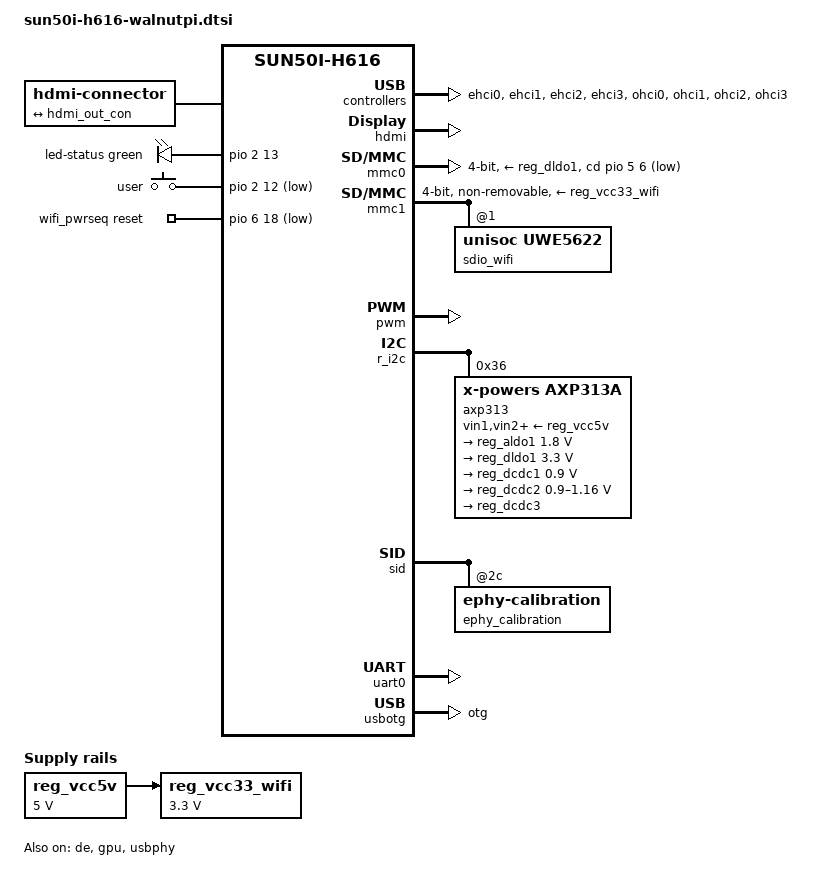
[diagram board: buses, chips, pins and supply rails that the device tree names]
// SPDX-License-Identifier: (GPL-2.0+ OR MIT)
/*
 * WalnutPi 1B / ZeroW 共用 SoC 外设（同一份 DTB）。
 *
 * 板级走核桃派原理图，不是 OrangePi，也不是官方 DTB / 未测完的魔改：
 *   核桃派1B_2G_4G版本_sch.pdf Device2 POWER
 *   核桃派ZeroW_sch.pdf Device2 POWER
 *   axp313a_datasheet_v0.1.pdf
 * 芯片怎么出现在 DT 里走主线绑定：sun50i-h616.dtsi、
 * sun50i-h616-cpu-opp.dtsi、x-powers,axp313a。
 *
 * AXP313A 手册表 7-1「应用建议」DCDC1=CPU、DCDC2=GPU 只是通用示例。
 * 核桃派电路相反：DCDC1→VDD-SYS+VDD-GPU（1.5 A），DCDC2→VDD-CPU（3 A）。
 */

#include "sun50i-h616.dtsi"

#include <dt-bindings/gpio/gpio.h>
#include <dt-bindings/input/input.h>
#include <dt-bindings/leds/common.h>
#include <dt-bindings/thermal/thermal.h>

/ {
	aliases {
		serial0 = &uart0;
		serial2 = &uart2;
		serial4 = &uart4;
		mmc0 = &mmc0;
		mmc1 = &mmc1;
		i2c1 = &i2c1;
		i2c2 = &i2c2;
		spi1 = &spi1;
	};

	chosen {
		stdout-path = "serial0:115200n8";
	};

	connector {
		compatible = "hdmi-connector";
		type = "d";

		port {
			hdmi_con_in: endpoint {
				remote-endpoint = <&hdmi_out_con>;
			};
		};
	};

	leds {
		compatible = "gpio-leds";

		led-status {
			function = LED_FUNCTION_STATUS;
			color = <LED_COLOR_ID_GREEN>;
			gpios = <&pio 2 13 GPIO_ACTIVE_HIGH>; /* PC13 */
			default-state = "on";
		};
	};

	gpio_keys: gpio-keys {
		compatible = "gpio-keys";

		key-user {
			label = "user";
			linux,code = <KEY_POWER>;
			gpios = <&pio 2 12 GPIO_ACTIVE_LOW>; /* PC12 */
			wakeup-source;
		};
	};

	/* Type-C VBUS，板级 5 V 输入，同时给 USB-A 口供电 */
	reg_vcc5v: vcc5v {
		compatible = "regulator-fixed";
		regulator-name = "vcc-5v";
		regulator-min-microvolt = <5000000>;
		regulator-max-microvolt = <5000000>;
		regulator-always-on;
	};

	/*
	 * U5 XC6220-3.3V1A：3V3-WIFI。WiFi 模组 VIN 走这一路，不是 AXP DLDO1。
	 * EN 在原理图上常开，无 GPIO。
	 */
	reg_vcc33_wifi: vcc33-wifi {
		compatible = "regulator-fixed";
		regulator-name = "vcc33-wifi";
		regulator-min-microvolt = <3300000>;
		regulator-max-microvolt = <3300000>;
		regulator-always-on;
		vin-supply = <&reg_vcc5v>;
	};

	wifi_pwrseq: wifi-pwrseq {
		compatible = "mmc-pwrseq-simple";
		/* M1 WL_REG_ON ← PG18，高电平使能；pwrseq reset 低有效 */
		reset-gpios = <&pio 6 18 GPIO_ACTIVE_LOW>;
		post-power-on-delay-ms = <200>;
	};
};

/*
 * 主线 sun50i-h616.dtsi 给 CPU 写了 #cooling-cells 和 60/70°C trip，
 * 但没有 cooling-maps（同世代的 sun50i-h6.dtsi 有）。按 H6 的写法补上。
 */
&{/thermal-zones/cpu-thermal} {
	polling-delay-passive = <250>;
	polling-delay = <1000>;

	trips {
		cpu-trip-0 {
			hysteresis = <2000>;
		};

		cpu-trip-1 {
			hysteresis = <2000>;
		};
	};

	cooling-maps {
		map0 {
			trip = <&cpu_target>;
			cooling-device = <&cpu0 THERMAL_NO_LIMIT THERMAL_NO_LIMIT>,
					 <&cpu1 THERMAL_NO_LIMIT THERMAL_NO_LIMIT>,
					 <&cpu2 THERMAL_NO_LIMIT THERMAL_NO_LIMIT>,
					 <&cpu3 THERMAL_NO_LIMIT THERMAL_NO_LIMIT>;
		};
	};
};

&cpu0 {
	cpu-supply = <&reg_dcdc2>;
};

&de {
	status = "okay";
};

&ehci0 {
	status = "okay";
};

&ehci1 {
	status = "okay";
};

&ehci2 {
	status = "okay";
};

&ehci3 {
	status = "okay";
};

&ohci0 {
	status = "okay";
};

&ohci1 {
	status = "okay";
};

&ohci2 {
	status = "okay";
};

&ohci3 {
	status = "okay";
};

&gpu {
	mali-supply = <&reg_dcdc1>;
	status = "okay";
};

&hdmi {
	hvcc-supply = <&reg_aldo1>;
	status = "okay";
};

&hdmi_out {
	hdmi_out_con: endpoint {
		remote-endpoint = <&hdmi_con_in>;
	};
};

&mmc0 {
	vmmc-supply = <&reg_dldo1>;
	cd-gpios = <&pio 5 6 GPIO_ACTIVE_LOW>; /* PF6 / SDC0-DET */
	bus-width = <4>;
	status = "okay";
};

&mmc1 {
	vmmc-supply = <&reg_vcc33_wifi>;
	vqmmc-supply = <&reg_aldo1>;
	mmc-pwrseq = <&wifi_pwrseq>;
	bus-width = <4>;
	non-removable;
	mmc-ddr-1_8v;
	status = "okay";

	sdio_wifi: wifi@1 {
		reg = <1>;
		compatible = "unisoc,uwe5622", "sprd,unisoc-wifi";
	};
};

/* 40Pin 复用默认关闭，留给 GPIO；用 overlay 打开。 */
&i2c1 {
	pinctrl-names = "default";
	pinctrl-0 = <&i2c1_pi_pins>;
	status = "disabled";
};

&i2c2 {
	pinctrl-names = "default";
	pinctrl-0 = <&i2c2_pi_pins>;
	status = "disabled";
};

&uart2 {
	pinctrl-names = "default";
	pinctrl-0 = <&uart2_pi_pins>;
	status = "disabled";
};

&uart4 {
	pinctrl-names = "default";
	pinctrl-0 = <&uart4_pi_pins>;
	status = "disabled";
};

&spi1 {
	pinctrl-names = "default";
	pinctrl-0 = <&spi1_pins>, <&spi1_cs0_pin>, <&spi1_cs1_pin>;
	status = "disabled";
};

&pio {
	vcc-pc-supply = <&reg_dldo1>;
	vcc-pf-supply = <&reg_dldo1>;
	vcc-pg-supply = <&reg_aldo1>;
	vcc-ph-supply = <&reg_dldo1>;
	vcc-pi-supply = <&reg_dldo1>;

	i2c1_pi_pins: i2c1-pi-pins {
		pins = "PI7", "PI8";
		function = "i2c1";
	};

	i2c2_pi_pins: i2c2-pi-pins {
		pins = "PI9", "PI10";
		function = "i2c2";
	};

	uart2_pi_pins: uart2-pi-pins {
		pins = "PI5", "PI6";
		function = "uart2";
	};

	uart4_pi_pins: uart4-pi-pins {
		pins = "PI13", "PI14";
		function = "uart4";
	};

	pwm1_pi_pin: pwm1-pi-pin {
		pins = "PI11";
		function = "pwm1";
	};

	pwm2_pi_pin: pwm2-pi-pin {
		pins = "PI12";
		function = "pwm2";
	};

	pwm3_pi_pin: pwm3-pi-pin {
		pins = "PI13";
		function = "pwm3";
	};

	pwm4_pi_pin: pwm4-pi-pin {
		pins = "PI14";
		function = "pwm4";
	};

	spi1_cs1_pin: spi1-cs1-pin {
		pins = "PH9";
		function = "spi1";
	};
};

/* 基线只给 AC200 留 pwm5；PI11–PI14 的 PWM 走 overlay。 */
&pwm {
	pinctrl-names = "default";
	pinctrl-0 = <&pwm5_pin>;
	status = "okay";
};

&r_i2c {
	status = "okay";

	/*
	 * U4/U3 AXP313A：SDA/SCL = PMU-SDA/PMU-SCK = S_TWI0 = PL1/PL0 = r_i2c。
	 * TWSI 地址手册可配 0x36/0x37，原理图无改址，用 0x36。
	 * 脚 11 IRQ 原理图打 X，未接到 SoC，不写 interrupts。
	 * 绑定里 axp313a 不强制 IRQ。无 MODESET 自工作脚，不加 self-working-mode。
	 */
	axp313: pmic@36 {
		compatible = "x-powers,axp313a";
		reg = <0x36>;

		vin1-supply = <&reg_vcc5v>;
		vin2-supply = <&reg_vcc5v>;
		vin3-supply = <&reg_vcc5v>;

		regulators {
			/* ALDO1 → 1V8（VCC-PLL、VCC_PG、WiFi VDDIO） */
			reg_aldo1: aldo1 {
				regulator-always-on;
				regulator-min-microvolt = <1800000>;
				regulator-max-microvolt = <1800000>;
				regulator-name = "vcc1v8";
			};

			/* DLDO1 → 3V3（VCC-IO、TF、USB PHY IO 等） */
			reg_dldo1: dldo1 {
				regulator-always-on;
				regulator-min-microvolt = <3300000>;
				regulator-max-microvolt = <3300000>;
				regulator-name = "vcc3v3";
			};

			/*
			 * DCDC1 → VDD-SYS + VDD-GPU。原理图反馈点标 0.9 V。
			 * 手册：0.5–3.4 V，IMAX 1.5 A。无 GPU OPP 表，锁在原理图电压。
			 */
			reg_dcdc1: dcdc1 {
				regulator-always-on;
				regulator-min-microvolt = <900000>;
				regulator-max-microvolt = <900000>;
				regulator-name = "vdd-gpu-sys";
			};

			/*
			 * DCDC2 → VDD-CPU。原理图反馈点标 0.9 V（OTP 默认）。
			 * 手册：0.5–1.54 V，IMAX 3 A@5 V。
			 * 主线 sun50i-h616-cpu-opp.dtsi：900–1160 mV（含 speed5 1.512 GHz）。
			 */
			reg_dcdc2: dcdc2 {
				regulator-always-on;
				regulator-min-microvolt = <900000>;
				regulator-max-microvolt = <1160000>;
				regulator-name = "vdd-cpu";
			};

			/*
			 * DCDC3 → VCC-DRAM。手册默认电压可 OTP 定制，IMAX 2 A。
			 * 1B（含停产 1G 与现量产 2G/4G）原理图标 1.3 V；
			 * ZeroW 原理图标 1.1 V。共用 DTB 不改写此路，交给出厂 OTP。
			 */
			reg_dcdc3: dcdc3 {
				regulator-always-on;
				regulator-name = "vcc-dram";
			};
		};
	};
};

&sid {
	ephy_calibration: ephy-calibration@2c {
		reg = <0x2c 0x2>;
	};
};

&uart0 {
	pinctrl-names = "default";
	pinctrl-0 = <&uart0_ph_pins>;
	status = "okay";
};

&usbotg {
	dr_mode = "otg";
	status = "okay";
};

&usbphy {
	/* USB-A VBUS 直接接板级 5 V，无 PC16 之类使能脚 */
	usb1_vbus-supply = <&reg_vcc5v>;
	status = "okay";
};
